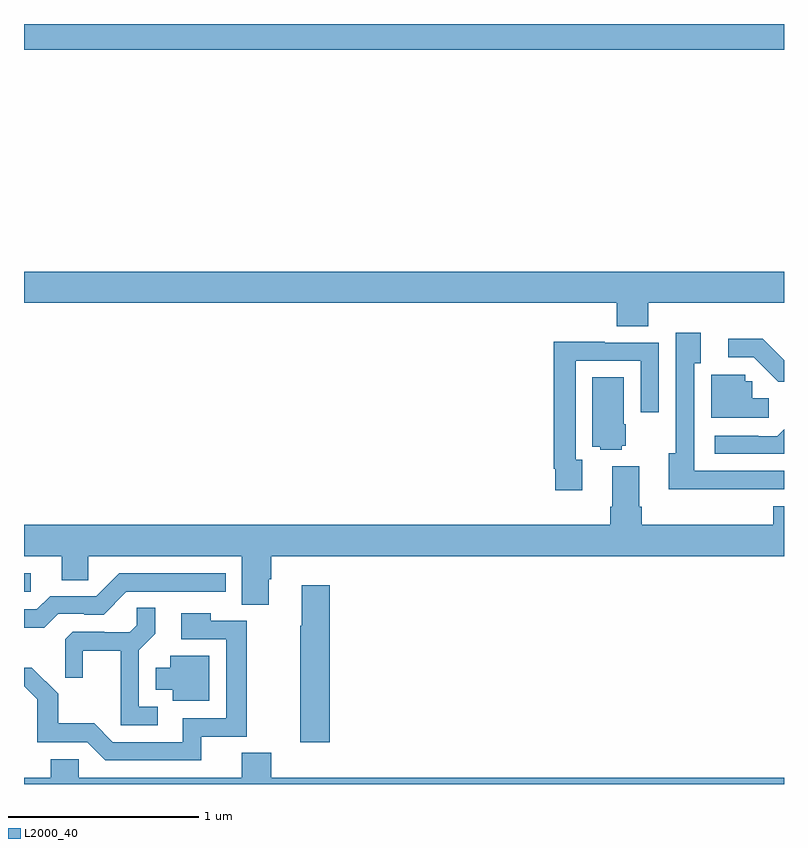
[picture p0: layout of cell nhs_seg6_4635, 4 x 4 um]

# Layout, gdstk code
import gdstk
lib = gdstk.Library(unit=1e-6, precision=1e-09)
def R(c, l, rs):  # rectangles x0, y0, x1, y1
    for r in rs: c.add(gdstk.rectangle(r[:2], r[2:], *l))
def P(c, l, *ps):  # polygons
    for p in ps: c.add(gdstk.Polygon(p, *l))
L2000_40 = (2000, 40)

nhs_seg6_4635 = lib.new_cell('nhs_seg6_4635')
R(nhs_seg6_4635, L2000_40, [(385,916.512,385.036,916.608), (385,919.364,389,919.5)])
P(nhs_seg6_4635, L2000_40, [(388.286,918.032),(389,918.032),(389,918.196),(385,918.196),(385,918.032),(388.121,918.032),(388.121,917.908),(388.286,917.908)],
  [(388.859,917.052),(389,917.052),(389,917.148),(388.527,917.148),(388.527,917.714),(388.561,917.714),(388.561,917.875),(388.431,917.875),(388.431,917.242),(388.394,917.242),(388.394,917.051),(388.859,917.051)],
  [(389,917.731),(388.888,917.843),(388.707,917.843),(388.707,917.745),(388.842,917.745),(388.969,917.618),(389,917.618)],
  [(387.937,917.207),(387.903,917.207),(387.903,917.727),(388.245,917.727),(388.245,917.457),(388.341,917.457),(388.341,917.823),(388.057,917.823),(388.057,917.827),(387.787,917.827),(387.787,917.158),(387.795,917.158),(387.795,917.046),(387.937,917.046)],
  [(388.921,917.53),(388.833,917.53),(388.833,917.619),(388.797,917.619),(388.797,917.655),(388.616,917.655),(388.616,917.427),(388.921,917.427)],
  [(388.146,917.28),(388.168,917.28),(388.168,917.394),(388.156,917.394),(388.156,917.642),(387.992,917.642),(387.992,917.276),(388.032,917.276),(388.032,917.258),(388.146,917.258)],
  [(389,917.366),(388.965,917.331),(388.865,917.331),(388.865,917.334),(388.635,917.334),(388.635,917.238),(389,917.238)],
  [(386.287,916.578),(386.3,916.578),(386.3,916.7),(389,916.7),(389,916.963),(388.943,916.963),(388.943,916.864),(388.25,916.864),(388.25,916.96),(388.237,916.96),(388.237,917.173),(388.097,917.173),(388.097,916.96),(388.085,916.96),(388.085,916.864),(385,916.864),(385,916.7),(385.199,916.7),(385.199,916.573),(385.338,916.573),(385.338,916.7),(386.147,916.7),(386.147,916.444),(386.287,916.444)],
  [(385.179,916.395),(385.318,916.395),(385.318,916.392),(385.419,916.392),(385.539,916.512),(386.062,916.512),(386.062,916.608),(385.5,916.608),(385.38,916.488),(385.137,916.488),(385.068,916.419),(385,916.419),(385,916.322),(385.106,916.322)],
  [(386.609,916.546),(386.462,916.546),(386.462,916.333),(386.455,916.333),(386.455,915.72),(386.609,915.72)],
  [(385.705,915.906),(385.605,915.906),(385.605,916.205),(385.691,916.291),(385.691,916.427),(385.593,916.427),(385.593,916.336),(385.556,916.299),(385.422,916.299),(385.422,916.302),(385.257,916.302),(385.216,916.261),(385.216,916.059),(385.31,916.059),(385.31,916.202),(385.508,916.202),(385.508,915.81),(385.705,915.81)],
  [(385.934,915.75),(386.173,915.75),(386.173,916.359),(385.983,916.359),(385.983,916.399),(385.827,916.399),(385.827,916.263),(386.064,916.263),(386.064,915.846),(385.835,915.846),(385.835,915.72),(385.467,915.72),(385.369,915.819),(385.18,915.819),(385.18,915.974),(385.042,916.112),(385,916.112),(385,916.014),(385.002,916.014),(385.071,915.945),(385.071,915.72),(385.332,915.72),(385.428,915.624),(385.934,915.624)],
  [(385.975,916.174),(385.769,916.174),(385.769,916.111),(385.694,916.111),(385.694,915.995),(385.784,915.995),(385.784,915.938),(385.975,915.938)],
  [(389,915.532),(386.3,915.532),(386.3,915.665),(386.147,915.665),(386.147,915.532),(385.287,915.532),(385.287,915.63),(385.141,915.63),(385.141,915.532),(385,915.532),(385,915.5),(389,915.5)])

lib.write_gds('nhs_seg6_4635.gds')
